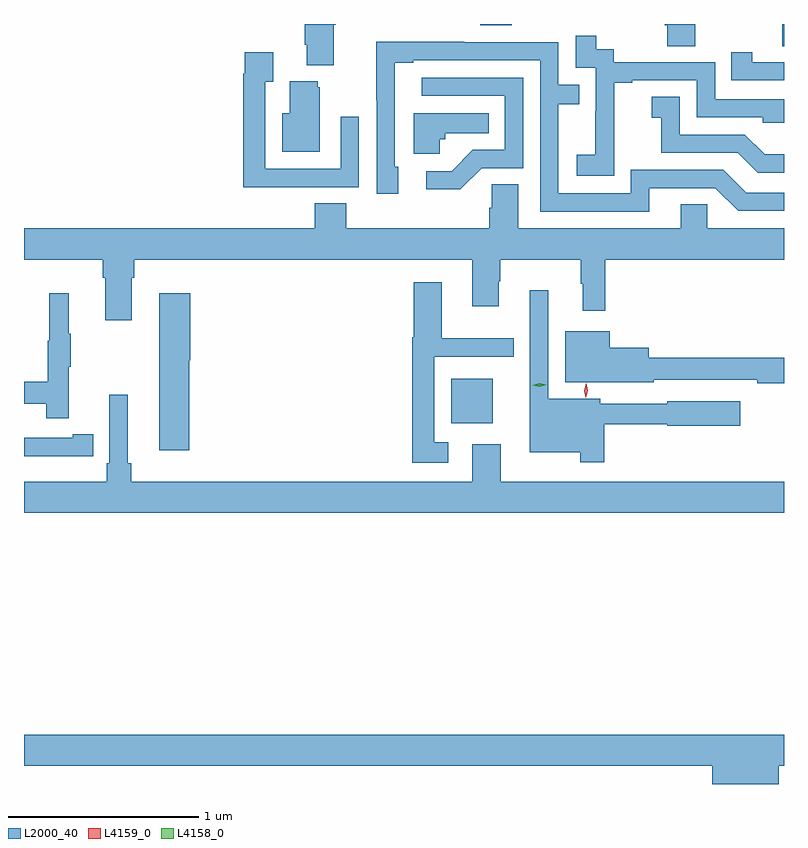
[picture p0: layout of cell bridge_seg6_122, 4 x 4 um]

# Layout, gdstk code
import gdstk
lib = gdstk.Library(unit=1e-6, precision=1e-09)
def R(c, l, rs):  # rectangles x0, y0, x1, y1
    for r in rs: c.add(gdstk.rectangle(r[:2], r[2:], *l))
def P(c, l, *ps):  # polygons
    for p in ps: c.add(gdstk.Polygon(p, *l))
L2000_40 = (2000, 40)
L4158_0 = (4158, 0)
L4159_0 = (4159, 0)

bridge_seg6_122 = lib.new_cell('bridge_seg6_122')
R(bridge_seg6_122, L2000_40, [(491.66,951.803,491.878,952.036), (493.402,953.788,493.412,953.904), (491.813,953.897,491.978,953.904)])
P(bridge_seg6_122, L2000_40, [(491.041,953.9),(491.054,953.9),(491.054,953.904),(490.889,953.904),(490.889,953.794),(490.901,953.794),(490.901,953.687),(491.041,953.687)],
  [(492.945,953.904),(492.785,953.904),(492.785,953.898),(492.797,953.898),(492.797,953.788),(492.945,953.788)],
  [(492.519,953.311),(492.518,953.311),(492.518,953.595),(492.613,953.595),(492.613,953.607),(492.954,953.607),(492.954,953.412),(493.299,953.412),(493.299,953.385),(493.412,953.385),(493.412,953.508),(493.05,953.508),(493.05,953.703),(492.516,953.703),(492.516,953.772),(492.424,953.772),(492.424,953.842),(492.315,953.842),(492.315,953.673),(492.42,953.673),(492.42,953.444),(492.419,953.444),(492.419,953.215),(492.321,953.215),(492.321,953.105),(492.519,953.105)],
  [(492.703,953.04),(493.05,953.04),(493.17,952.92),(493.412,952.92),(493.412,953.016),(493.212,953.016),(493.092,953.136),(492.606,953.136),(492.606,953.013),(492.225,953.013),(492.225,953.482),(492.335,953.482),(492.335,953.583),(492.225,953.583),(492.225,953.808),(491.729,953.808),(491.729,953.81),(491.266,953.81),(491.266,953.503),(491.268,953.503),(491.268,953.01),(491.383,953.01),(491.383,953.154),(491.364,953.154),(491.364,953.7),(491.461,953.7),(491.461,953.712),(492.129,953.712),(492.129,952.917),(492.703,952.917)],
  [(493.412,953.703),(493.246,953.703),(493.246,953.755),(493.135,953.755),(493.135,953.607),(493.412,953.607)],
  [(490.859,953.046),(491.175,953.046),(491.175,953.416),(491.079,953.416),(491.079,953.142),(490.683,953.142),(490.683,953.599),(490.723,953.599),(490.723,953.755),(490.575,953.755),(490.575,953.642),(490.567,953.642),(490.567,953.045),(490.859,953.045)],
  [(491.82,953.145),(492.039,953.145),(492.039,953.622),(491.505,953.622),(491.505,953.526),(491.943,953.526),(491.943,953.241),(491.774,953.241),(491.663,953.13),(491.529,953.13),(491.529,953.033),(491.707,953.033)],
  [(490.969,953.571),(490.958,953.571),(490.958,953.602),(490.811,953.602),(490.811,953.434),(490.772,953.434),(490.772,953.231),(490.969,953.231)],
  [(493.412,953.218),(493.31,953.218),(493.206,953.322),(492.864,953.322),(492.864,953.521),(492.717,953.521),(492.717,953.411),(492.766,953.411),(492.766,953.226),(493.169,953.226),(493.274,953.121),(493.412,953.121)],
  [(491.601,953.298),(491.628,953.298),(491.628,953.33),(491.858,953.33),(491.858,953.434),(491.462,953.434),(491.462,953.222),(491.601,953.222)],
  [(489.979,952.568),(489.992,952.568),(489.992,952.664),(491.771,952.664),(491.771,952.419),(491.911,952.419),(491.911,952.55),(491.919,952.55),(491.919,952.664),(492.342,952.664),(492.342,952.538),(492.353,952.538),(492.353,952.395),(492.47,952.395),(492.47,952.664),(493.412,952.664),(493.412,952.828),(493.008,952.828),(493.008,952.955),(492.869,952.955),(492.869,952.828),(492.013,952.828),(492.013,953.06),(491.874,953.06),(491.874,952.937),(491.861,952.937),(491.861,952.828),(491.108,952.828),(491.108,952.961),(490.943,952.961),(490.943,952.828),(489.412,952.828),(489.412,952.664),(489.827,952.664),(489.827,952.568),(489.839,952.568),(489.839,952.344),(489.979,952.344)],
  [(491.644,951.703),(491.571,951.703),(491.571,952.152),(491.99,952.152),(491.99,952.249),(491.611,952.249),(491.611,952.546),(491.462,952.546),(491.462,952.255),(491.455,952.255),(491.455,951.594),(491.644,951.594)],
  [(492.467,951.798),(492.798,951.798),(492.798,951.79),(493.183,951.79),(493.183,951.919),(492.798,951.919),(492.798,951.906),(492.444,951.906),(492.444,951.931),(492.171,951.931),(492.171,952.504),(492.075,952.504),(492.075,952.027),(492.074,952.027),(492.074,951.65),(492.339,951.65),(492.339,951.597),(492.467,951.597)],
  [(489.647,952.099),(489.658,952.099),(489.658,952.273),(489.647,952.273),(489.647,952.486),(489.544,952.486),(489.544,952.236),(489.537,952.236),(489.537,952.022),(489.412,952.022),(489.412,951.906),(489.529,951.906),(489.529,951.828),(489.647,951.828)],
  [(490.283,952.134),(490.288,952.134),(490.288,952.486),(490.124,952.486),(490.124,951.66),(490.283,951.66)],
  [(493.412,952.148),(492.7,952.148),(492.7,952.201),(492.496,952.201),(492.496,952.288),(492.26,952.288),(492.26,952.019),(492.726,952.019),(492.726,952.032),(493.27,952.032),(493.27,952.012),(493.412,952.012)],
  [(493.412,951.496),(491.92,951.496),(491.92,951.691),(491.771,951.691),(491.771,951.496),(489.977,951.496),(489.977,951.592),(489.958,951.592),(489.958,951.952),(489.861,951.952),(489.861,951.592),(489.848,951.592),(489.848,951.496),(489.412,951.496),(489.412,951.332),(493.412,951.332)],
  [(489.668,951.63),(489.776,951.63),(489.776,951.746),(489.668,951.746),(489.668,951.726),(489.412,951.726),(489.412,951.629),(489.668,951.629)],
  [(493.384,950),(493.412,950),(493.412,950.164),(489.412,950.164),(489.412,950),(493.034,950),(493.034,949.904),(493.384,949.904)])
P(bridge_seg6_122, L4158_0, [(492.126,951.994),(492.09,952.003),(492.09,952.003),(492.09,952.003),(492.125,952.014),(492.16,952.006),(492.161,952.006),(492.16,952.006)])
P(bridge_seg6_122, L4159_0, [(492.369,951.936),(492.368,951.937),(492.36,951.975),(492.371,952.013),(492.372,952.013),(492.372,952.013),(492.38,951.975),(492.369,951.937)])

lib.write_gds('bridge_seg6_122.gds')
